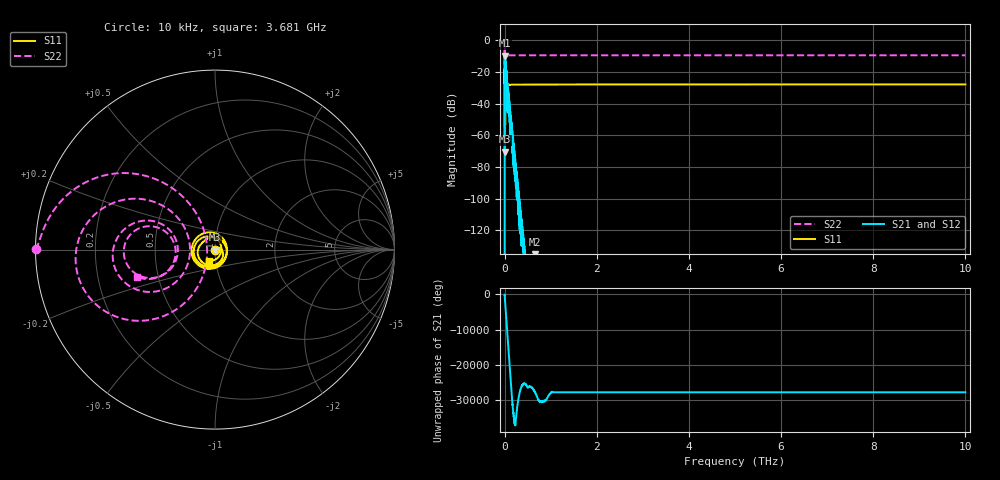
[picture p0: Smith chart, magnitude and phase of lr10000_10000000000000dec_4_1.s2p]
! NPort=2 DATA=4501 NOISE=0 GROUPDELAY=0 COMPLEX_DATAFORMAT=RI
! NumOfBlock=1 NumOfParam=0
! .MODEL Smodel S TSTONEFILE=./link_rx/link_rx_l3/lr10000_10000000000000dec_4_1.s2p TYPE=S
!  -- The above .MODEL line can be used for the S element in the netlist.
# Hz S RI R  50
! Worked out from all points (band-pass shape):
!   4501 points, 10 kHz to 10 THz, reference 50 ohm
!   highest |S21| = -9.72 dB at 4.831 GHz (marker M1); lowest = -198.9 dB at 657.7 GHz (marker M2)
!   |S21| within 3 dB of the highest: 2.568 GHz to 6.976 GHz (4.407 GHz wide, 92.4 % of centre); 12.48 GHz to 15.51 GHz (3.024 GHz wide, 21.6 % of centre)
!   lowest |S11| = -70.4 dB at 10 kHz (marker M3), VSWR 1.00, Z = 50 + j0.0206 ohm
!   |S11| at or under -10 dB: start of sweep to end of sweep
!   |S22| runs from -27.1 to 0.0 dB; largest |S21 - S12| = 1e-13
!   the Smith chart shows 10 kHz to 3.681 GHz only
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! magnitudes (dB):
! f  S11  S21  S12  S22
! 10 kHz  -70.4  -142.7  -142.7  0.0
! 316.2 kHz  -55.7  -121.8  -121.8  0.0
! 6.516 MHz  -42.7  -81.4  -81.4  -0.2
! 10 MHz  -40.9  -74.3  -74.3  -0.3
! 96.38 MHz  -30.3  -37.9  -37.9  -2.4
! 316.2 MHz  -22.5  -25.1  -25.1  -10.9
! 503.5 MHz  -20.0  -22.9  -22.9  -27.1
! 933.3 MHz  -22.5  -21.7  -21.7  -2.3
! 1.479 GHz  -19.9  -15.7  -15.7  -16.9
! 1.923 GHz  -18.2  -14.5  -14.5  -4.9
! 2.399 GHz  -23.3  -13.5  -13.5  -13.5
! 2.884 GHz  -18.5  -11.2  -11.2  -6.0
! 4.831 GHz  -23.2  -9.7  -9.7  -6.0
! 10 GHz  -39.0  -23.4  -23.4  -9.5
! 13.61 GHz  -25.2  -11.7  -11.7  -9.1
! 18.37 GHz  -29.6  -22.0  -22.0  -9.1
! 31.77 GHz  -32.4  -15.9  -15.9  -9.4
! 94.19 GHz  -28.1  -35.7  -35.7  -9.4
! 229.1 GHz  -28.0  -75.3  -75.3  -9.4
! 316.2 GHz  -27.9  -116.5  -116.5  -9.4
! 657.7 GHz  -27.9  -198.9  -198.9  -9.4
! 10 THz  -27.8  -  -  -9.4
